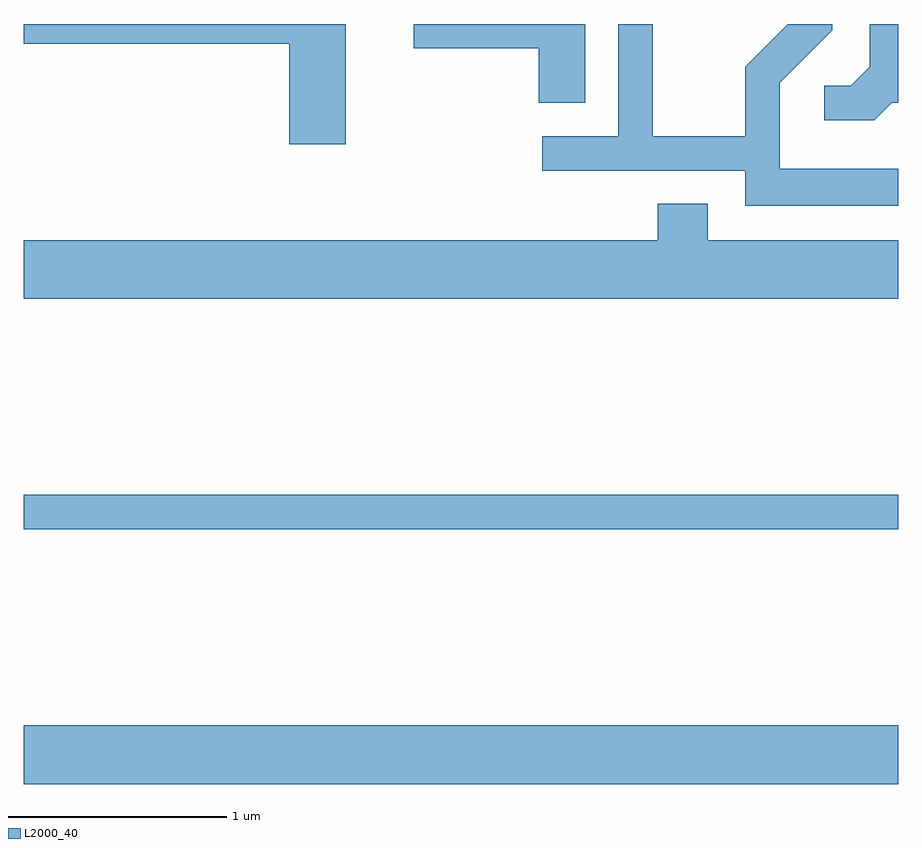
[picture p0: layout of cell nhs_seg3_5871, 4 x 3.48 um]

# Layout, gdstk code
import gdstk
lib = gdstk.Library(unit=1e-6, precision=1e-09)
def R(c, l, rs):  # rectangles x0, y0, x1, y1
    for r in rs: c.add(gdstk.rectangle(r[:2], r[2:], *l))
def P(c, l, *ps):  # polygons
    for p in ps: c.add(gdstk.Polygon(p, *l))
L2000_40 = (2000, 40)

nhs_seg3_5871 = lib.new_cell('nhs_seg3_5871')
R(nhs_seg3_5871, L2000_40, [(357.611,1170.416,361.611,1170.684), (357.611,1171.581,361.611,1171.739)])
P(nhs_seg3_5871, L2000_40, [(359.084,1173.892),(357.611,1173.892),(357.611,1173.801),(358.826,1173.801),(358.826,1173.341),(359.084,1173.341)],
  [(360.179,1173.892),(359.396,1173.892),(359.396,1173.781),(359.966,1173.781),(359.966,1173.531),(360.179,1173.531)],
  [(361.582,1173.531),(361.611,1173.531),(361.611,1173.892),(361.481,1173.892),(361.481,1173.697),(361.394,1173.609),(361.273,1173.609),(361.273,1173.451),(361.502,1173.451)],
  [(361.611,1173.229),(361.069,1173.229),(361.069,1173.624),(361.309,1173.864),(361.309,1173.892),(361.106,1173.892),(360.911,1173.697),(360.911,1173.379),(360.489,1173.379),(360.489,1173.892),(360.331,1173.892),(360.331,1173.379),(359.983,1173.379),(359.983,1173.221),(360.911,1173.221),(360.911,1173.061),(361.611,1173.061)],
  [(361.611,1172.904),(360.739,1172.904),(360.739,1173.069),(360.511,1173.069),(360.511,1172.904),(357.611,1172.904),(357.611,1172.636),(361.611,1172.636)])

lib.write_gds('nhs_seg3_5871.gds')
